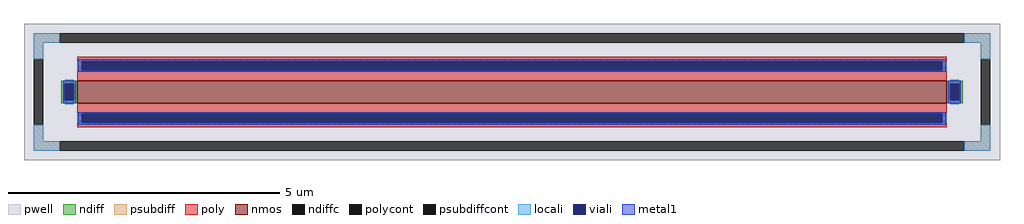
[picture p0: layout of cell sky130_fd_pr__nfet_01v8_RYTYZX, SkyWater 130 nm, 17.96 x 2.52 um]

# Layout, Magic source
magic
tech sky130A
<< pwell >>
rect -898 -126 898 126
<< nmos >>
rect -800 -21 800 21
<< ndiff >>
rect -829 15 -800 21
rect -829 -15 -823 15
rect -806 -15 -800 15
rect -829 -21 -800 -15
rect 800 15 829 21
rect 800 -15 806 15
rect 823 -15 829 15
rect 800 -21 829 -15
<< ndiffc >>
rect -823 -15 -806 15
rect 806 -15 823 15
<< psubdiff >>
rect -880 91 -832 108
rect 832 91 880 108
rect -880 60 -863 91
rect 863 60 880 91
rect -880 -91 -863 -60
rect 863 -91 880 -60
rect -880 -108 -832 -91
rect 832 -108 880 -91
<< psubdiffcont >>
rect -832 91 832 108
rect -880 -60 -863 60
rect 863 -60 880 60
rect -832 -108 832 -91
<< poly >>
rect -800 57 800 65
rect -800 40 -792 57
rect 792 40 800 57
rect -800 21 800 40
rect -800 -40 800 -21
rect -800 -57 -792 -40
rect 792 -57 800 -40
rect -800 -65 800 -57
<< polycont >>
rect -792 40 792 57
rect -792 -57 792 -40
<< locali >>
rect -880 91 -832 108
rect 832 91 880 108
rect -880 60 -863 91
rect 863 60 880 91
rect -800 40 -792 57
rect 792 40 800 57
rect -823 15 -806 23
rect -823 -23 -806 -15
rect 806 15 823 23
rect 806 -23 823 -15
rect -800 -57 -792 -40
rect 792 -57 800 -40
rect -880 -91 -863 -60
rect 863 -91 880 -60
rect -880 -108 -832 -91
rect 832 -108 880 -91
<< viali >>
rect -792 40 792 57
rect -823 -15 -806 15
rect 806 -15 823 15
rect -792 -57 792 -40
<< metal1 >>
rect -798 57 798 60
rect -798 40 -792 57
rect 792 40 798 57
rect -798 37 798 40
rect -826 15 -803 21
rect -826 -15 -823 15
rect -806 -15 -803 15
rect -826 -21 -803 -15
rect 803 15 826 21
rect 803 -15 806 15
rect 823 -15 826 15
rect 803 -21 826 -15
rect -798 -40 798 -37
rect -798 -57 -792 -40
rect 792 -57 798 -40
rect -798 -60 798 -57
<< properties >>
string FIXED_BBOX -871 -99 871 99
string gencell sky130_fd_pr__nfet_01v8
string library sky130
string parameters w 0.42 l 16.0 m 1 nf 1 diffcov 100 polycov 100 guard 1 glc 1 grc 1 gtc 1 gbc 1 tbcov 100 rlcov 100 topc 1 botc 1 poverlap 0 doverlap 1 lmin 0.15 wmin 0.42 compatible {sky130_fd_pr__nfet_01v8 sky130_fd_pr__nfet_01v8_lvt  sky130_fd_bs_flash__special_sonosfet_star  sky130_fd_pr__nfet_g5v0d10v5 sky130_fd_pr__nfet_05v0_nvt  sky130_fd_pr__nfet_03v3_nvt} full_metal 1 viasrc 100 viadrn 100 viagate 100 viagb 0 viagr 0 viagl 0 viagt 0
<< end >>
